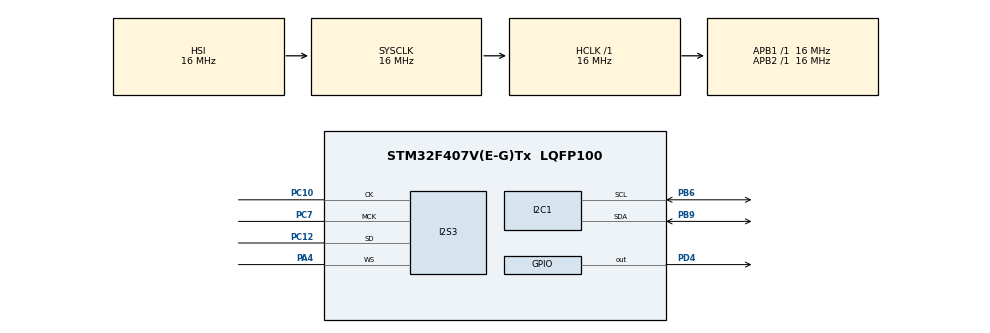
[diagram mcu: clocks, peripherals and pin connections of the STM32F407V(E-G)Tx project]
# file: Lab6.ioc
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Dma.Request0=SPI3_TX
Dma.SPI3_TX.0.Direction=DMA_MEMORY_TO_PERIPH
Dma.SPI3_TX.0.FIFOMode=DMA_FIFOMODE_ENABLE
Dma.SPI3_TX.0.FIFOThreshold=DMA_FIFO_THRESHOLD_FULL
Dma.SPI3_TX.0.Instance=DMA1_Stream5
Dma.SPI3_TX.0.MemBurst=DMA_MBURST_SINGLE
Dma.SPI3_TX.0.MemDataAlignment=DMA_MDATAALIGN_BYTE
Dma.SPI3_TX.0.MemInc=DMA_MINC_ENABLE
Dma.SPI3_TX.0.Mode=DMA_CIRCULAR
Dma.SPI3_TX.0.PeriphBurst=DMA_PBURST_SINGLE
Dma.SPI3_TX.0.PeriphDataAlignment=DMA_PDATAALIGN_HALFWORD
Dma.SPI3_TX.0.PeriphInc=DMA_PINC_DISABLE
Dma.SPI3_TX.0.Priority=DMA_PRIORITY_LOW
I2S3.AudioFreq=I2S_AUDIOFREQ_48K
I2S3.ErrorAudioFreq=-2.34 %
I2S3.FullDuplexMode=I2S_FULLDUPLEXMODE_DISABLE
I2S3.Instance=SPI$Index
I2S3.RealAudioFreq=46.875 KHz
I2S3.VirtualMode=I2S_MODE_MASTER
Mcu.Family=STM32F4
Mcu.Name=STM32F407V(E-G)Tx
Mcu.Package=LQFP100
NVIC.DMA1_Stream5_IRQn=true\:0\:0\:false\:false\:true\:false\:true\:true
NVIC.PriorityGroup=NVIC_PRIORITYGROUP_4
PA4.Mode=Half_Duplex_Master
PA4.Signal=I2S3_WS
PB6.Mode=I2C
PB6.Signal=I2C1_SCL
PB9.Mode=I2C
PB9.Signal=I2C1_SDA
PC10.Mode=Half_Duplex_Master
PC10.Signal=I2S3_CK
PC12.Mode=Half_Duplex_Master
PC12.Signal=I2S3_SD
PC7.Mode=Master_Clock_Activated
PC7.Signal=I2S3_MCK
PD4.Signal=GPIO_Output
ProjectManager.HeapSize=0x200
ProjectManager.StackSize=0x400
ProjectManager.TargetToolchain=STM32CubeIDE
RCC.AHBFreq_Value=16000000
RCC.APB1Freq_Value=16000000
RCC.APB2Freq_Value=16000000
RCC.CortexFreq_Value=16000000
RCC.HSE_VALUE=25000000
RCC.HSI_VALUE=16000000
RCC.LSE_VALUE=32768
RCC.SYSCLKFreq_VALUE=16000000
RCC.VCOOutputFreq_Value=192000000
board=custom

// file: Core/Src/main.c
/* USER CODE BEGIN Header */
/**
  ******************************************************************************
  * @file           : main.c
  * @brief          : Main program body
  ******************************************************************************
  * @attention
  *
  * Copyright (c) 2023 STMicroelectronics.
  * All rights reserved.
  *
  * This software is licensed under terms that can be found in the LICENSE file
  * in the root directory of this software component.
  * If no LICENSE file comes with this software, it is provided AS-IS.
  *
  ******************************************************************************
  */
/* USER CODE END Header */
#include "main.h"

/* USER CODE BEGIN PTD */
typedef enum
{
	C4 = 0x00,
	C5 = 0x10,
	D5 = 0x20,
	E5 = 0x30,
	F5 = 0x40,
	G5 = 0x50,
	A5 = 0x60,
	B5 = 0x70,
	C6 = 0x80,
	D6 = 0x90,
	E6 = 0xa0,
	F6 = 0xb0,
	G6 = 0xc0,
	A6 = 0xd0,
	B6 = 0xe0,
	C7 = 0xf0,
	MAX_VALUE
} soundToneType;

/* USER CODE END PTD */

/* USER CODE BEGIN PD */
#define CS43L22_I2C_ADDRESS		0x94
#define I2C_TIMEOUT				10
/* USER CODE END PD */

I2C_HandleTypeDef hi2c1;

I2S_HandleTypeDef hi2s3;
DMA_HandleTypeDef hdma_spi3_tx;

/* USER CODE BEGIN PV */
int16_t dataI2S[100] = {0};
/* USER CODE END PV */

void SystemClock_Config(void);
static void MX_GPIO_Init(void);
static void MX_DMA_Init(void);
static void MX_I2C1_Init(void);
static void MX_I2S3_Init(void);

/* USER CODE BEGIN 0 */
void CS43L22_Init(void)
{
	// Enable chip
	HAL_GPIO_WritePin(GPIOD, GPIO_PIN_4, GPIO_PIN_SET);

	//
	// Initialization
	//
	uint8_t TxBuffer[2];

	TxBuffer[0] = 0x0D;
	TxBuffer[1] = 0x01;
	HAL_I2C_Master_Transmit(&hi2c1, CS43L22_I2C_ADDRESS, (uint8_t*) &TxBuffer, 2, I2C_TIMEOUT);

	TxBuffer[0] = 0x00;
	TxBuffer[1] = 0x99;
	HAL_I2C_Master_Transmit(&hi2c1, CS43L22_I2C_ADDRESS, (uint8_t*) &TxBuffer, 2, I2C_TIMEOUT);

	TxBuffer[0] = 0x47;
	TxBuffer[1] = 0x80;
	HAL_I2C_Master_Transmit(&hi2c1, CS43L22_I2C_ADDRESS, (uint8_t*) &TxBuffer, 2, I2C_TIMEOUT);

	TxBuffer[0] = 0x32;
	TxBuffer[1] = 0xFF;
	HAL_I2C_Master_Transmit(&hi2c1, CS43L22_I2C_ADDRESS, (uint8_t*) &TxBuffer, 2, I2C_TIMEOUT);

	TxBuffer[0] = 0x32;
	TxBuffer[1] = 0x7F;
	HAL_I2C_Master_Transmit(&hi2c1, CS43L22_I2C_ADDRESS, (uint8_t*) &TxBuffer, 2, I2C_TIMEOUT);

	TxBuffer[0] = 0x00;
	TxBuffer[1] = 0x00;
	HAL_I2C_Master_Transmit(&hi2c1, CS43L22_I2C_ADDRESS, (uint8_t*) &TxBuffer, 2, I2C_TIMEOUT);

	TxBuffer[0] = 0x04;
	TxBuffer[1] = 0xAF;
	HAL_I2C_Master_Transmit(&hi2c1, CS43L22_I2C_ADDRESS, (uint8_t*) &TxBuffer, 2, I2C_TIMEOUT);

	TxBuffer[0] = 0x0D;
	TxBuffer[1] = 0x70;
	HAL_I2C_Master_Transmit(&hi2c1, CS43L22_I2C_ADDRESS, (uint8_t*) &TxBuffer, 2, I2C_TIMEOUT);

	TxBuffer[0] = 0x05;
	TxBuffer[1] = 0x81;
	HAL_I2C_Master_Transmit(&hi2c1, CS43L22_I2C_ADDRESS, (uint8_t*) &TxBuffer, 2, I2C_TIMEOUT);

	TxBuffer[0] = 0x06;
	TxBuffer[1] = 0x07;
	HAL_I2C_Master_Transmit(&hi2c1, CS43L22_I2C_ADDRESS, (uint8_t*) &TxBuffer, 2, I2C_TIMEOUT);

	TxBuffer[0] = 0x0A;
	TxBuffer[1] = 0x00;
	HAL_I2C_Master_Transmit(&hi2c1, CS43L22_I2C_ADDRESS, (uint8_t*) &TxBuffer, 2, I2C_TIMEOUT);

	TxBuffer[0] = 0x27;
	TxBuffer[1] = 0x00;
	HAL_I2C_Master_Transmit(&hi2c1, CS43L22_I2C_ADDRESS, (uint8_t*) &TxBuffer, 2, I2C_TIMEOUT);

	TxBuffer[0] = 0x1A;
	TxBuffer[1] = 0x0A;
	HAL_I2C_Master_Transmit(&hi2c1, CS43L22_I2C_ADDRESS, (uint8_t*) &TxBuffer, 2, I2C_TIMEOUT);

	TxBuffer[0] = 0x1B;
	TxBuffer[1] = 0x0A;
	HAL_I2C_Master_Transmit(&hi2c1, CS43L22_I2C_ADDRESS, (uint8_t*) &TxBuffer, 2, I2C_TIMEOUT);

	TxBuffer[0] = 0x1F;
	TxBuffer[1] = 0x0F;
	HAL_I2C_Master_Transmit(&hi2c1, CS43L22_I2C_ADDRESS, (uint8_t*) &TxBuffer, 2, I2C_TIMEOUT);

	TxBuffer[0] = 0x02;
	TxBuffer[1] = 0x9E;
	HAL_I2C_Master_Transmit(&hi2c1, CS43L22_I2C_ADDRESS, (uint8_t*) &TxBuffer, 2, I2C_TIMEOUT);
}

void CS43L22_Beep(soundToneType pitch, uint32_t duration_ms)
{
	uint8_t TxBuffer[2];

	// Set volume and off time
	TxBuffer[0] = 0x1D;		// Register address
	TxBuffer[1] = 0x00;		// Value (volume and off time)
	HAL_I2C_Master_Transmit(&hi2c1, CS43L22_I2C_ADDRESS, (uint8_t*) &TxBuffer, 2, I2C_TIMEOUT);

	// Set sound frequency
	TxBuffer[0] = 0x1C;		// Register address
	switch (pitch)
	{
		case C4:
		case C5:
		case D5:
		case E5:
		case F5:
		case G5:
		case A5:
		case B5:
		case C6:
		case D6:
		case E6:
		case F6:
		case G6:
		case A6:
		case B6:
		case C7:
			TxBuffer[1] = pitch;		// Value (frequency and on time)
			break;

		// Assume C4 for all other cases
		case MAX_VALUE:
		default:
			TxBuffer[1] = 0x00;		// Value (frequency and on time)
			break;
	}
	HAL_I2C_Master_Transmit(&hi2c1, CS43L22_I2C_ADDRESS, (uint8_t*) &TxBuffer, 2, I2C_TIMEOUT);

	// Enable continuous mode (SOUND STARTED)
	TxBuffer[0] = 0x1E;		// Register address
	TxBuffer[1] = 0xC0;		// Value (beep and tone configuration)
	HAL_I2C_Master_Transmit(&hi2c1, CS43L22_I2C_ADDRESS, (uint8_t*) &TxBuffer, 2, I2C_TIMEOUT);

	// Playing...
	HAL_Delay(duration_ms);

	// Disable continuous mode (SOUND STOPED)
	TxBuffer[0] = 0x1E;		// Register address
	TxBuffer[1] = 0x00;		// Value (beep and tone configuration)
	HAL_I2C_Master_Transmit(&hi2c1, CS43L22_I2C_ADDRESS, (uint8_t*) &TxBuffer, 2, I2C_TIMEOUT);
}

/* USER CODE END 0 */

int main(void)
{

  /* MCU Configuration--------------------------------------------------------*/

  /* Reset of all peripherals, Initializes the Flash interface and the Systick. */
  HAL_Init();

  /* Configure the system clock */
  SystemClock_Config();

  /* Initialize all configured peripherals */
  MX_GPIO_Init();
  MX_DMA_Init();
  MX_I2C1_Init();
  MX_I2S3_Init();
  /* USER CODE BEGIN 2 */
  // Init DAC
    CS43L22_Init();

    // Transmit empty data
    HAL_I2S_Transmit_DMA(&hi2s3, (uint16_t *)dataI2S, 100);

    /* USER CODE END 2 */

    /* Infinite loop */
    /* USER CODE BEGIN WHILE */
    while (1)
    {
    	CS43L22_Beep(G5, 2000);
    	HAL_Delay(1000);
    	CS43L22_Beep(E5, 500);
    	CS43L22_Beep(D5, 1500);
    	HAL_Delay(1000);
    	CS43L22_Beep(G5, 250);
    	CS43L22_Beep(A5, 250);
    	CS43L22_Beep(B5, 250);
    	CS43L22_Beep(C6, 250);
    	CS43L22_Beep(D6, 1000);
    	CS43L22_Beep(E6, 2000);
    	HAL_Delay(250);
    	CS43L22_Beep(C6, 250);
    	CS43L22_Beep(D6, 250);
    	CS43L22_Beep(D5, 250);
    	HAL_Delay(2000);

  	/* USER CODE END WHILE */

    }
}

void SystemClock_Config(void)
{
  RCC_OscInitTypeDef RCC_OscInitStruct = {0};
  RCC_ClkInitTypeDef RCC_ClkInitStruct = {0};

  /** Macro to configure the PLL multiplication factor
  */
  __HAL_RCC_PLL_PLLM_CONFIG(16);

  /** Macro to configure the PLL clock source
  */
  __HAL_RCC_PLL_PLLSOURCE_CONFIG(RCC_PLLSOURCE_HSI);

  /** Configure the main internal regulator output voltage
  */
  __HAL_RCC_PWR_CLK_ENABLE();
  __HAL_PWR_VOLTAGESCALING_CONFIG(PWR_REGULATOR_VOLTAGE_SCALE1);

  /** Initializes the RCC Oscillators according to the specified parameters
  * in the RCC_OscInitTypeDef structure.
  */
  RCC_OscInitStruct.OscillatorType = RCC_OSCILLATORTYPE_HSI;
  RCC_OscInitStruct.HSIState = RCC_HSI_ON;
  RCC_OscInitStruct.HSICalibrationValue = RCC_HSICALIBRATION_DEFAULT;
  RCC_OscInitStruct.PLL.PLLState = RCC_PLL_NONE;
  RCC_OscInitStruct.PLL.PLLSource = RCC_PLLSOURCE_HSI;
  if (HAL_RCC_OscConfig(&RCC_OscInitStruct) != HAL_OK)
  {
    Error_Handler();
  }

  /** Initializes the CPU, AHB and APB buses clocks
  */
  RCC_ClkInitStruct.ClockType = RCC_CLOCKTYPE_HCLK|RCC_CLOCKTYPE_SYSCLK
                              |RCC_CLOCKTYPE_PCLK1|RCC_CLOCKTYPE_PCLK2;
  RCC_ClkInitStruct.SYSCLKSource = RCC_SYSCLKSOURCE_HSI;
  RCC_ClkInitStruct.AHBCLKDivider = RCC_SYSCLK_DIV1;
  RCC_ClkInitStruct.APB1CLKDivider = RCC_HCLK_DIV1;
  RCC_ClkInitStruct.APB2CLKDivider = RCC_HCLK_DIV1;

  if (HAL_RCC_ClockConfig(&RCC_ClkInitStruct, FLASH_LATENCY_0) != HAL_OK)
  {
    Error_Handler();
  }
}

static void MX_I2C1_Init(void)
{

  hi2c1.Instance = I2C1;
  hi2c1.Init.ClockSpeed = 100000;
  hi2c1.Init.DutyCycle = I2C_DUTYCYCLE_2;
  hi2c1.Init.OwnAddress1 = 0;
  hi2c1.Init.AddressingMode = I2C_ADDRESSINGMODE_7BIT;
  hi2c1.Init.DualAddressMode = I2C_DUALADDRESS_DISABLE;
  hi2c1.Init.OwnAddress2 = 0;
  hi2c1.Init.GeneralCallMode = I2C_GENERALCALL_DISABLE;
  hi2c1.Init.NoStretchMode = I2C_NOSTRETCH_DISABLE;
  if (HAL_I2C_Init(&hi2c1) != HAL_OK)
  {
    Error_Handler();
  }

}

static void MX_I2S3_Init(void)
{

  hi2s3.Instance = SPI3;
  hi2s3.Init.Mode = I2S_MODE_MASTER_TX;
  hi2s3.Init.Standard = I2S_STANDARD_PHILIPS;
  hi2s3.Init.DataFormat = I2S_DATAFORMAT_16B;
  hi2s3.Init.MCLKOutput = I2S_MCLKOUTPUT_ENABLE;
  hi2s3.Init.AudioFreq = I2S_AUDIOFREQ_48K;
  hi2s3.Init.CPOL = I2S_CPOL_LOW;
  hi2s3.Init.ClockSource = I2S_CLOCK_PLL;
  hi2s3.Init.FullDuplexMode = I2S_FULLDUPLEXMODE_DISABLE;
  if (HAL_I2S_Init(&hi2s3) != HAL_OK)
  {
    Error_Handler();
  }

}

static void MX_DMA_Init(void)
{

  /* DMA controller clock enable */
  __HAL_RCC_DMA1_CLK_ENABLE();

  /* DMA interrupt init */
  /* DMA1_Stream5_IRQn interrupt configuration */
  HAL_NVIC_SetPriority(DMA1_Stream5_IRQn, 0, 0);
  HAL_NVIC_EnableIRQ(DMA1_Stream5_IRQn);

}

static void MX_GPIO_Init(void)
{
  GPIO_InitTypeDef GPIO_InitStruct = {0};

  /* GPIO Ports Clock Enable */
  __HAL_RCC_GPIOA_CLK_ENABLE();
  __HAL_RCC_GPIOC_CLK_ENABLE();
  __HAL_RCC_GPIOD_CLK_ENABLE();
  __HAL_RCC_GPIOB_CLK_ENABLE();

  /*Configure GPIO pin Output Level */
  HAL_GPIO_WritePin(GPIOD, GPIO_PIN_4, GPIO_PIN_RESET);

  /*Configure GPIO pin : PD4 */
  GPIO_InitStruct.Pin = GPIO_PIN_4;
  GPIO_InitStruct.Mode = GPIO_MODE_OUTPUT_PP;
  GPIO_InitStruct.Pull = GPIO_NOPULL;
  GPIO_InitStruct.Speed = GPIO_SPEED_FREQ_LOW;
  HAL_GPIO_Init(GPIOD, &GPIO_InitStruct);

}

void Error_Handler(void)
{
  __disable_irq();
  while (1)
  {
  }
}
